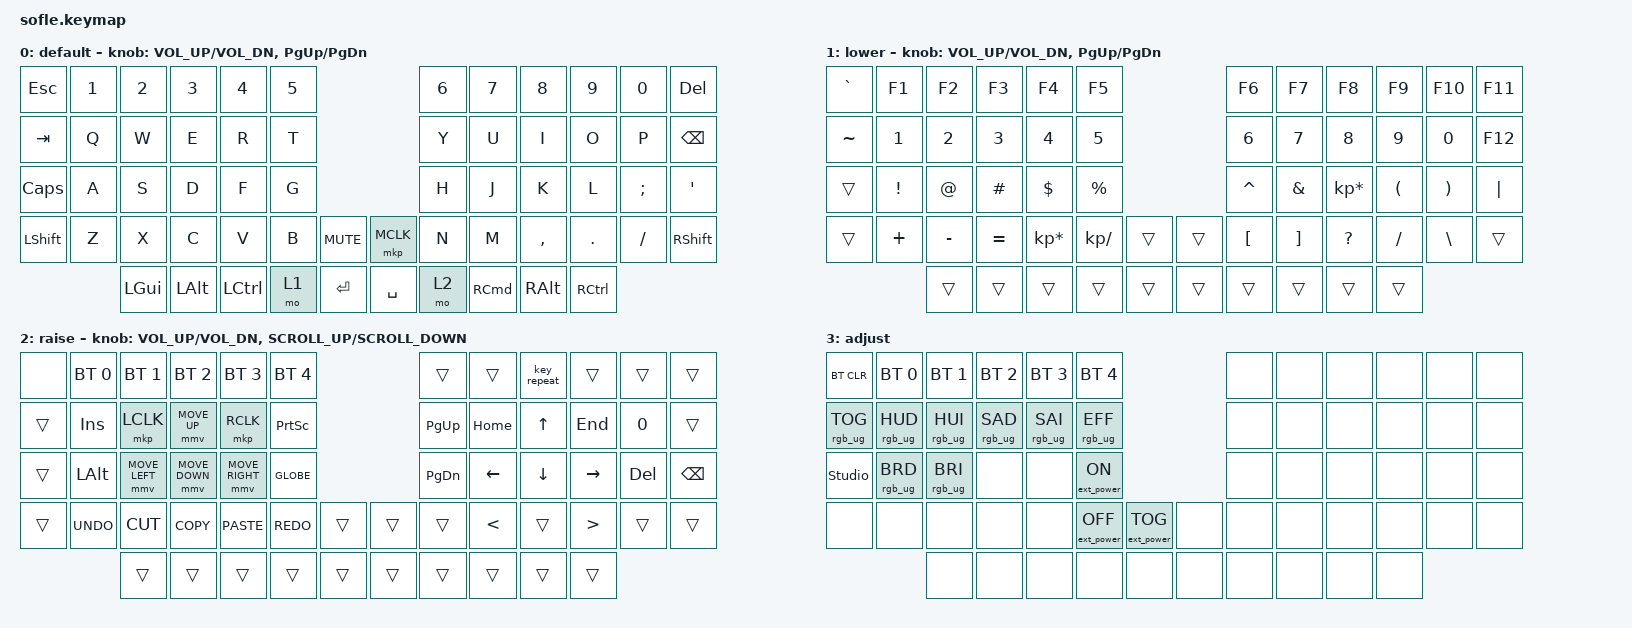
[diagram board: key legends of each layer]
/*
 * Copyright (c) 2020 The ZMK Contributors
 *
 * SPDX-License-Identifier: MIT
 */

#include <behaviors.dtsi>
#include <dt-bindings/zmk/bt.h>
#include <dt-bindings/zmk/ext_power.h>
#include <dt-bindings/zmk/keys.h>
#include <dt-bindings/zmk/pointing.h>
#include <dt-bindings/zmk/rgb.h>

#define ZMK_POINTING_DEFAULT_MOVE_VAL 1500  // default: 600
#define ZMK_POINTING_DEFAULT_SCRL_VAL 20    // default: 10
#define BASE 0
#define LOWER 1
#define RAISE 2
#define ADJUST 3

/ {
    // Activate ADJUST layer by pressing raise and lower

    conditional_layers {
        compatible = "zmk,conditional-layers";

        adjust_layer {
            if-layers = <1 2>;
            then-layer = <3>;
        };
    };

    keymap {
        compatible = "zmk,keymap";

        default_layer {
            label = "default";

            // ------------------------------------------------------------------------------------------------------------
            // |   `   |  1  |  2  |  3   |  4   |  5   |                   |  6   |  7    |  8    |  9   |   0   |       |
            // |  ESC  |  Q  |  W  |  E   |  R   |  T   |                   |  Y   |  U    |  I    |  O   |   P   | BKSPC |
            // |  TAB  |  A  |  S  |  D   |  F   |  G   |                   |  H   |  J    |  K    |  L   |   ;   |   '   |
            // | SHIFT |  Z  |  X  |  C   |  V   |  B   |  MUTE  |  |       |  N   |  M    |  ,    |  .   |   /   | SHIFT |
            //               | GUI | ALT  | CTRL | LOWER|  ENTER |  | SPACE | RAISE| CTRL  | ALT   | GUI  |

            bindings = <
&kp ESC    &kp N1  &kp N2    &kp N3    &kp N4     &kp N5                           &kp N6  &kp N7             &kp N8     &kp N9             &kp N0    &kp DELETE
&kp TAB    &kp Q   &kp W     &kp E     &kp R      &kp T                            &kp Y   &kp U              &kp I      &kp O              &kp P     &kp BSPC
&kp CAPS   &kp A   &kp S     &kp D     &kp F      &kp G                            &kp H   &kp J              &kp K      &kp L              &kp SEMI  &kp SQT
&kp LSHFT  &kp Z   &kp X     &kp C     &kp V      &kp B   &kp C_MUTE    &mkp MCLK  &kp N   &kp M              &kp COMMA  &kp DOT            &kp FSLH  &kp RSHFT
                   &kp LGUI  &kp LALT  &kp LCTRL  &mo 1   &kp RET       &kp SPACE  &mo 2   &kp RIGHT_COMMAND  &kp RALT   &kp RIGHT_CONTROL
            >;

            sensor-bindings = <&inc_dec_kp C_VOL_UP C_VOL_DN &inc_dec_kp PG_UP PG_DN>;
        };

        lower_layer {
            label = "lower";

            // TODO: Some binds are waiting for shifted keycode support.
            // ------------------------------------------------------------------------------------------------------------
            // |       |  F1 |  F2 |  F3  |  F4  |  F5  |                   |  F6  |  F7   |  F8   |  F9  |  F10  |  F11  |
            // |   `   |  1  |  2  |  3   |  4   |  5   |                   |  6   |  7    |  8    |  9   |   0   |  F12  |
            // |       |  !  |  @  |  #   |  $   |  %   |                   |  ^   |  &    |  *    |  (   |   )   |   |   |
            // |       |  =  |  -  |  +   |  {   |  }   |        |  |       |  [   |  ]    |  ;    |  :   |   \   |       |
            //               |     |      |      |      |        |  |       |      |       |       |      |

            bindings = <
&kp GRAVE  &kp F1    &kp F2     &kp F3     &kp F4           &kp F5                           &kp F6     &kp F7    &kp F8           &kp F9     &kp F10   &kp F11
&kp TILDE  &kp N1    &kp N2     &kp N3     &kp N4           &kp N5                           &kp N6     &kp N7    &kp N8           &kp N9     &kp N0    &kp F12
&trans     &kp EXCL  &kp AT     &kp HASH   &kp DLLR         &kp PRCNT                        &kp CARET  &kp AMPS  &kp KP_MULTIPLY  &kp LPAR   &kp RPAR  &kp PIPE
&trans     &kp PLUS  &kp MINUS  &kp EQUAL  &kp KP_MULTIPLY  &kp KP_DIVIDE  &trans    &trans  &kp LBKT   &kp RBKT  &kp QUESTION     &kp SLASH  &kp BSLH  &trans
                     &trans     &trans     &trans           &trans         &trans    &trans  &trans     &trans    &trans           &trans
            >;

            sensor-bindings = <&inc_dec_kp C_VOL_UP C_VOL_DN &inc_dec_kp PG_UP PG_DN>;
        };

        raise_layer {
            label = "raise";

            // ------------------------------------------------------------------------------------------------------------
            // | BTCLR | BT1  | BT2  |  BT3  |  BT4  |  BT5 |                |      |      |       |      |       |       |
            // |       | INS  | PSCR | GUI   |       |      |                | PGUP |      |   ^   |      |       |       |
            // |       | ALT  | CTRL | SHIFT |       | CAPS |                | PGDN |   <- |   v   |  ->  |  DEL  | BKSPC |
            // |       | UNDO | CUT  | COPY  | PASTE |      |      |  |      |      |      |       |      |       |       |
            //                |      |       |       |      |      |  |      |      |      |       |      |

            bindings = <
&none   &bt BT_SEL 0  &bt BT_SEL 1    &bt BT_SEL 2    &bt BT_SEL 3     &bt BT_SEL 4                       &trans     &trans         &key_repeat  &trans            &trans   &trans
&trans  &kp INS       &mkp LCLK       &mmv MOVE_UP    &mkp RCLK        &kp PRINTSCREEN                    &kp PG_UP  &kp HOME       &kp UP       &kp END           &kp N0   &trans
&trans  &kp LALT      &mmv MOVE_LEFT  &mmv MOVE_DOWN  &mmv MOVE_RIGHT  &kp GLOBE                          &kp PG_DN  &kp LEFT       &kp DOWN     &kp RIGHT         &kp DEL  &kp BSPC
&trans  &kp K_UNDO    &kp K_CUT       &kp K_COPY      &kp K_PASTE      &kp K_REDO       &trans    &trans  &trans     &kp LESS_THAN  &trans       &kp GREATER_THAN  &trans   &trans
                      &trans          &trans          &trans           &trans           &trans    &trans  &trans     &trans         &trans       &trans
            >;

            sensor-bindings =
                <&inc_dec_kp C_VOL_UP C_VOL_DN>,
                <&inc_dec_kp K_SCROLL_UP K_SCROLL_DOWN>;
        };

        adjust_layer {
            // ----------------------------------------------------------------------------------------------------------------------------
            // | BTCLR  |  BT1    |  BT2    |   BT3   |   BT4   |   BT5   |                  |      |      |       |      |       |       |
            // | EXTPWR | RGB_HUD | RGB_HUI | RGB_SAD | RGB_SAI | RGB_EFF |                  |      |      |       |      |       |       |
            // |        | RGB_BRD | RGB_BRI |         |         |         |                  |      |      |       |      |       |       |
            // |        |         |         |         |         |         | RGB_TOG | |      |      |      |       |      |       |       |
            //                    |         |         |         |         |         | |      |      |      |       |      |

            label = "adjust";
            bindings = <
&bt BT_CLR       &bt BT_SEL 0     &bt BT_SEL 1     &bt BT_SEL 2     &bt BT_SEL 3     &bt BT_SEL 4                                   &none  &none  &none  &none  &none  &none
&rgb_ug RGB_TOG  &rgb_ug RGB_HUD  &rgb_ug RGB_HUI  &rgb_ug RGB_SAD  &rgb_ug RGB_SAI  &rgb_ug RGB_EFF                                &none  &none  &none  &none  &none  &none
&studio_unlock   &rgb_ug RGB_BRD  &rgb_ug RGB_BRI  &none            &none            &ext_power EP_ON                               &none  &none  &none  &none  &none  &none
&none            &none            &none            &none            &none            &ext_power EP_OFF  &ext_power EP_TOG    &none  &none  &none  &none  &none  &none  &none
                                  &none            &none            &none            &none              &none                &none  &none  &none  &none  &none
            >;
        };
    };
};
